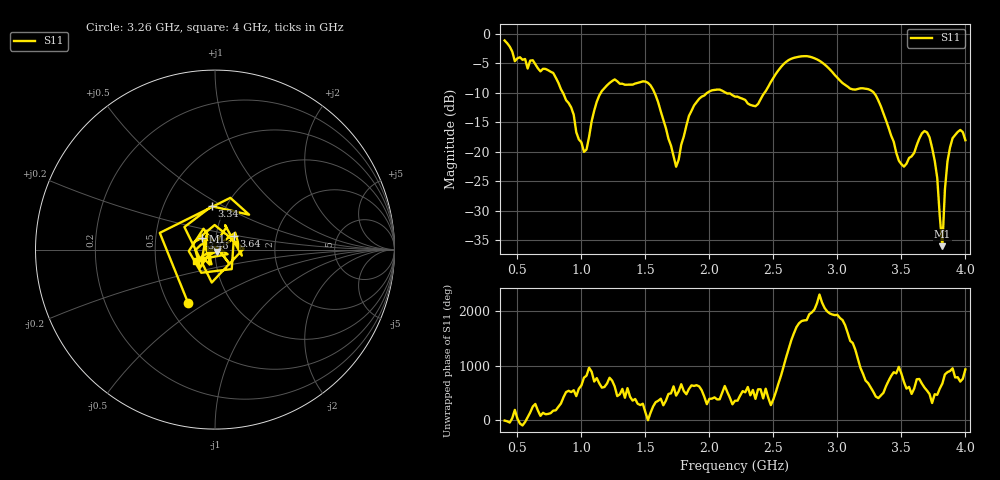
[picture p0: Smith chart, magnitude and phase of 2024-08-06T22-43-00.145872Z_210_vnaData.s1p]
!Created with skrf (http://scikit-rf.org).
# Hz S RI R 50.0
!freq ReS11 ImS11
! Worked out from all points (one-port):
!   181 points, 400 MHz to 4 GHz, reference 50 ohm
!   lowest |S11| = -36.0 dB at 3.82 GHz (marker M1), VSWR 1.03, Z = 51 - j1.22 ohm
!   |S11| at or under -10 dB: 855.9 MHz to 1.152 GHz (295.6 MHz wide, 29.4 % of centre); 1.571 GHz to 1.983 GHz (411.8 MHz wide, 23.2 % of centre); 3.285 GHz to end of sweep (the widest 3 of 4)
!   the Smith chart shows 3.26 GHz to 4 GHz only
!   S11 on the Smith chart (normalised r, x): 3.26 GHz: 0.63, -0.42; 3.34 GHz: 0.86, +0.44; 3.46 GHz: 0.86, +0.11; 3.64 GHz: 1.22, +0.19; 4 GHz: 0.80, -0.11
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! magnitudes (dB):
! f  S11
! 400 MHz  -1.1
! 780 MHz  -6.6
! 860 MHz  -10.2
! 1.02 GHz  -20.0
! 1.14 GHz  -10.4
! 1.3 GHz  -8.5
! 1.54 GHz  -8.7
! 1.74 GHz  -22.5
! 1.76 GHz  -21.3
! 1.84 GHz  -13.9
! 1.92 GHz  -11.0
! 2.2 GHz  -10.6
! 2.36 GHz  -12.3
! 2.66 GHz  -4.1
! 3.1 GHz  -9.3
! 3.26 GHz  -9.6
! 3.34 GHz  -12.3
! 3.46 GHz  -20.2
! 3.56 GHz  -21.0
! 3.64 GHz  -17.7
! 3.7 GHz  -16.7
! 3.74 GHz  -19.3
! 3.78 GHz  -24.4
! 3.82 GHz  -36.0
! 3.84 GHz  -26.4
! 3.88 GHz  -19.2
! 3.96 GHz  -16.3
! 4 GHz  -18.0
